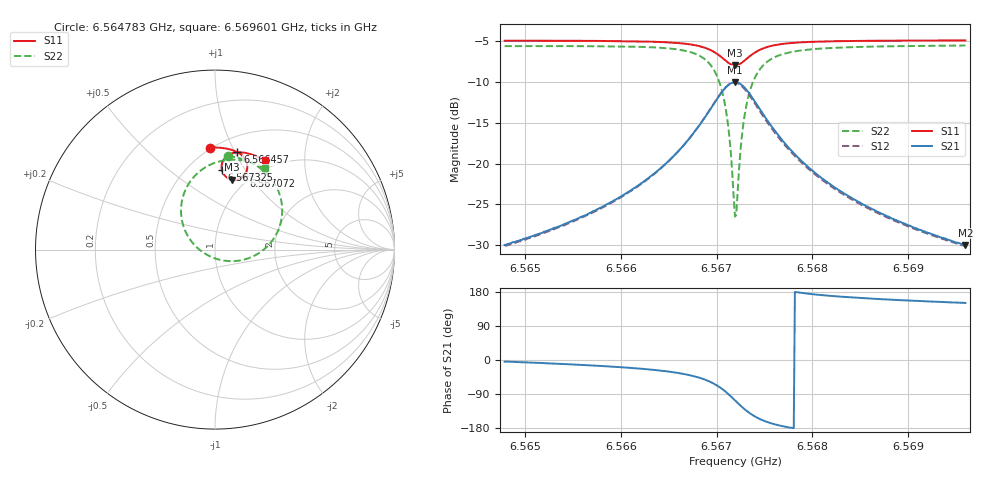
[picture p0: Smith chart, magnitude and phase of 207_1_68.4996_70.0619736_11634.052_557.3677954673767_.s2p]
#  HZ  S  RI  R  50.00
! Rohde & Schwarz Vector Network Analyzer
! Rohde-Schwarz,ZNB20-2Port,1311601062101988,3.16
! Created: UTC 3/20/2024, 5:12:59 PM
! freq[Hz]  re:S11  im:S11  re:S21  im:S21  re:S12  im:S12  re:S22  im:S22
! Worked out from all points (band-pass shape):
!   401 points, 6.564783 GHz to 6.569601 GHz, reference 50 ohm
!   highest |S21| = -9.99 dB at 6.567192 GHz (marker M1); lowest = -30.0 dB at 6.569601 GHz (marker M2)
!   |S21| within 3 dB of the highest: 6.566953 GHz to 6.567434 GHz (481.4 kHz wide, 0.00733 % of centre)
!   lowest |S11| = -7.9 dB at 6.567192 GHz (marker M3), VSWR 2.34, Z = 43 + j39.9 ohm
!   |S11| at or under -10 dB: nowhere
!   |S22| runs from -26.5 to -5.5 dB; largest |S21 - S12| = 0.016
!   S11 on the Smith chart (normalised r, x): 6.564783 GHz: 0.49, +0.82; 6.566457 GHz: 0.65, +1.02; 6.567072 GHz: 0.92, +0.94; 6.567325 GHz: 0.71, +0.79; 6.569601 GHz: 0.88, +1.30
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6.5647828e9  -0.0296 0.5682  0.0315 -0.00231  0.031 -0.00275  0.0723 0.5217
6.5655899e9  0.0382 0.5663  0.046 -0.0106  0.0453 -0.0112  0.1541 0.5033
6.5660356e9  0.0796 0.5593  0.0609 -0.0218  0.0599 -0.0224  0.2117 0.4791
6.566397e9  0.1182 0.5462  0.0814 -0.0425  0.0803 -0.0436  0.274 0.4365
6.5664572e9  0.1252 0.5426  0.0861 -0.0483  0.0848 -0.0493  0.2866 0.4247
6.5666982e9  0.1559 0.5195  0.1077 -0.0873  0.1062 -0.0891  0.3431 0.3485
6.5668789e9  0.1771 0.4827  0.1188 -0.1516  0.1159 -0.155  0.3744 0.2242
6.5669873e9  0.1784 0.4451  0.1027 -0.2178  0.0968 -0.2222  0.3478 0.0983
6.5670716e9  0.1597 0.4102  0.0534 -0.2776  0.0427 -0.2809  0.2555 -0.0124
6.5671198e9  0.1372 0.3941  0.00366 -0.3028  -0.00968 -0.3032  0.1626 -0.0556
6.5671439e9  0.123 0.3896  -0.0262 -0.3089  -0.0405 -0.3071  0.1077 -0.0641
6.56718e9  0.0997 0.3884  -0.0741 -0.3071  -0.0885 -0.3016  0.0217 -0.0555
6.5671921e9  0.0919 0.3898  -0.09 -0.3034  -0.104 -0.2966  -0.00606 -0.0469
6.5672161e9  0.077 0.395  -0.12 -0.2912  -0.1329 -0.282  -0.0579 -0.0211
6.5672643e9  0.053 0.4136  -0.1687 -0.2523  -0.1776 -0.2397  -0.1377 0.0544
6.5673246e9  0.038 0.4441  -0.201 -0.1921  -0.2046 -0.1784  -0.1848 0.1651
6.5674209e9  0.0414 0.4872  -0.2029 -0.1085  -0.201 -0.0982  -0.1736 0.3103
6.5675655e9  0.0686 0.5227  -0.1673 -0.0398  -0.1638 -0.034  -0.0972 0.4258
6.5677341e9  0.1006 0.538  -0.1286 -0.007  -0.1255 -0.00396  -0.0166 0.4775
6.5679991e9  0.1395 0.5423  -0.0902 0.00993  -0.088 0.0113  0.0692 0.4995
6.5688062e9  0.2199 0.5246  -0.0439 0.0165  -0.0428 0.0168  0.202 0.4848
6.5696013e9  0.2808 0.4967  -0.0274 0.0156  -0.0269 0.0157  0.278 0.4529
